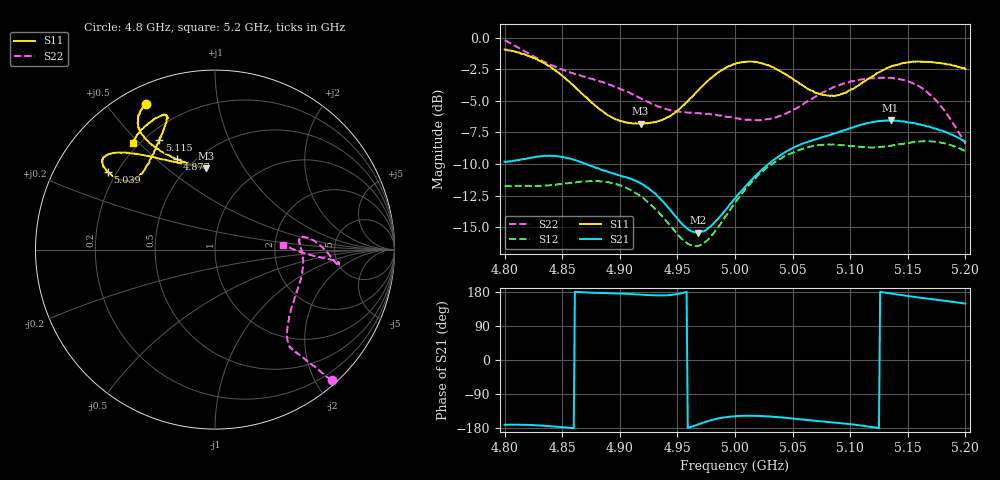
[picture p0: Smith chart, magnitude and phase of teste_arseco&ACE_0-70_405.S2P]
! Network Analyzer HP8722D
! Hewlett-Packard
! Data name: Linha & Wilkinson
! Saver's name: Rodrigo Anjos
! Comments: Teste da utilização de aquisição
! continua pelo VNA HP8722D
! Time and date: 8/5/2025 16:08
!  Frequency  S11  S21  S12  S22
# HZ  S  MA R 50
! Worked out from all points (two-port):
!   401 points, 4.8 GHz to 5.2 GHz, reference 50 ohm
!   highest |S21| = -6.53 dB at 5.135 GHz (marker M1); lowest = -15.4 dB at 4.968 GHz (marker M2)
!   |S21| within 3 dB of the highest: 4.821 GHz to 4.855 GHz (33.71 MHz wide, 0.697 % of centre); 5.036 GHz to end of sweep
!   lowest |S11| = -6.8 dB at 4.918 GHz (marker M3), VSWR 2.68, Z = 30.3 + j34.8 ohm
!   |S11| at or under -10 dB: nowhere
!   |S22| runs from -8.4 to -0.2 dB; largest |S21 - S12| = 0.83
!   S11 on the Smith chart (normalised r, x): 4.8 GHz: 0.07, +0.63; 4.877 GHz: 0.41, +0.58; 5.039 GHz: 0.17, +0.32; 5.115 GHz: 0.25, +0.58; 5.2 GHz: 0.18, +0.48
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4.8e9  0.8986 115.4  0.3232 -171.0  0.2586 -86.3  0.9758 -48.3
4.832e9  0.8049 122.1  0.3393 -173.0  0.2588 -78.1  0.8128 -50.2
4.847e9  0.7275 122.0  0.3388 -176.5  0.2629 -73.1  0.7579 -51.2
4.867e9  0.6004 117.3  0.321 178.9  0.2694 -68.2  0.7069 -52.2
4.877e9  0.547 112.8  0.3087 177.5  0.2714 -67.3  0.6847 -52.4
4.9e9  0.4684 100.6  0.285 175.4  0.2601 -67.8  0.628 -50.4
4.918e9  0.4564 96.1  0.2654 172.3  0.2353 -69.9  0.5763 -45.0
4.934e9  0.4684 100.3  0.2328 170.5  0.2029 -70.3  0.5326 -36.4
4.955e9  0.54 115.0  0.1808 177.3  0.158 -60.9  0.5076 -22.7
4.968e9  0.6196 123.7  0.1691 -170.0  0.1499 -46.6  0.5026 -14.9
4.979e9  0.6924 129.6  0.1791 -159.0  0.163 -34.4  0.4972 -9.4
5e9  0.7882 137.3  0.2308 -148.6  0.2226 -21.8  0.4807 -0.3
5.019e9  0.8023 141.6  0.2869 -147.6  0.2819 -19.5  0.4716 5.7
5.039e9  0.737 144.0  0.3408 -151.4  0.3308 -19.8  0.4904 8.3
5.067e9  0.617 141.7  0.3926 -159.5  0.3721 -22.2  0.5739 3.5
5.088e9  0.5906 132.5  0.4205 -165.5  0.3769 -25.3  0.6434 -3.3
5.115e9  0.6858 117.0  0.4595 -175.2  0.3679 -28.2  0.688 -6.8
5.134e9  0.765 110.6  0.4691 176.2  0.3727 -30.3  0.6937 -6.2
5.135e9  0.7684 110.7  0.4713 175.7  0.3739 -30.3  0.694 -6.1
5.162e9  0.8041 112.6  0.4513 164.0  0.3888 -37.2  0.6331 -4.9
5.179e9  0.7927 118.6  0.4299 157.3  0.3838 -42.5  0.534 -3.3
5.2e9  0.7516 127.6  0.3864 148.9  0.3556 -48.3  0.3792 4.1
